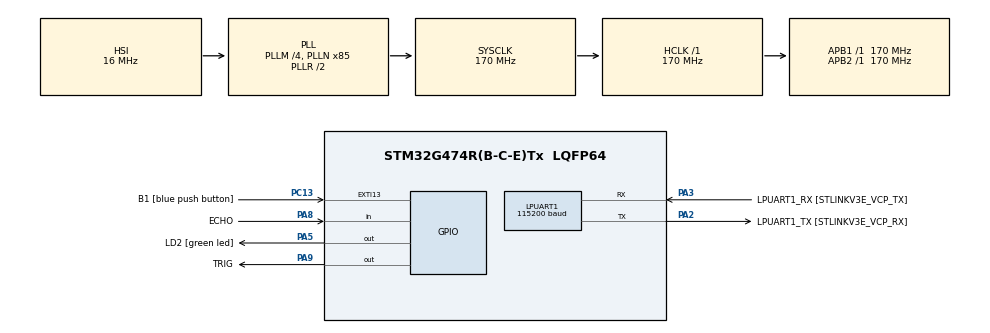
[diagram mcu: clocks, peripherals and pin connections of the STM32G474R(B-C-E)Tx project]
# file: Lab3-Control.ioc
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LPUART1.BaudRate=115200
Mcu.Family=STM32G4
Mcu.Name=STM32G474R(B-C-E)Tx
Mcu.Package=LQFP64
NVIC.EXTI15_10_IRQn=true\:0\:0\:false\:false\:true\:true\:true\:true
NVIC.PriorityGroup=NVIC_PRIORITYGROUP_4
NVIC.TIM1_CC_IRQn=true\:0\:0\:false\:false\:true\:true\:true\:true
PA13.GPIO_Label=T_SWDIO
PA13.Mode=Trace_Asynchronous_SW
PA13.Signal=SYS_JTMS-SWDIO
PA14.GPIO_Label=T_SWCLK
PA14.Mode=Trace_Asynchronous_SW
PA14.Signal=SYS_JTCK-SWCLK
PA2.GPIO_Label=LPUART1_TX [STLINKV3E_VCP_RX]
PA2.Mode=Asynchronous
PA2.Signal=LPUART1_TX
PA3.GPIO_Label=LPUART1_RX [STLINKV3E_VCP_TX]
PA3.Mode=Asynchronous
PA3.Signal=LPUART1_RX
PA5.GPIO_Label=LD2 [green led]
PA5.Signal=GPIO_Output
PA8.GPIO_Label=ECHO
PA8.Signal=GPIO_Input
PA9.GPIO_Label=TRIG
PA9.Signal=GPIO_Output
PB3.GPIO_Label=T_SWO
PB3.Mode=Trace_Asynchronous_SW
PB3.Signal=SYS_JTDO-SWO
PC13.GPIO_Label=B1 [blue push button]
PC13.Signal=GPXTI13
PC14-OSC32_IN.GPIO_Label=RCC_OSC32_IN
PC14-OSC32_IN.Signal=RCC_OSC32_IN
PC15-OSC32_OUT.GPIO_Label=RCC_OSC32_OUT
PC15-OSC32_OUT.Signal=RCC_OSC32_OUT
PF0-OSC_IN.GPIO_Label=RCC_OSC_IN
PF0-OSC_IN.Signal=RCC_OSC_IN
PF1-OSC_OUT.GPIO_Label=RCC_OSC_OUT
PF1-OSC_OUT.Signal=RCC_OSC_OUT
ProjectManager.HeapSize=0x200
ProjectManager.StackSize=0x400
ProjectManager.TargetToolchain=STM32CubeIDE
RCC.ADC12Freq_Value=170000000
RCC.ADC345Freq_Value=170000000
RCC.AHBFreq_Value=170000000
RCC.APB1Freq_Value=170000000
RCC.APB1TimFreq_Value=170000000
RCC.APB2Freq_Value=170000000
RCC.APB2TimFreq_Value=170000000
RCC.CortexFreq_Value=170000000
RCC.EXTERNAL_CLOCK_VALUE=12288000
RCC.HCLKFreq_Value=170000000
RCC.HSE_VALUE=24000000
RCC.HSI48_VALUE=48000000
RCC.HSI_VALUE=16000000
RCC.LSE_VALUE=32768
RCC.PLLM=RCC_PLLM_DIV4
RCC.PLLN=85
RCC.RTCClockSelection=RCC_RTCCLKSOURCE_LSE
RCC.SYSCLKFreq_VALUE=170000000
RCC.SYSCLKSource=RCC_SYSCLKSOURCE_PLLCLK
RCC.USBFreq_Value=170000000
RCC.VCOOutputFreq_Value=340000000
TIM1.Prescaler=169
VP_SYS_VS_DBSignals.Mode=DisableDeadBatterySignals
VP_TIM1_VS_ClockSourceINT.Mode=Internal
board=NUCLEO-G474RE

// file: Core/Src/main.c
/* USER CODE BEGIN Header */
/**
  ******************************************************************************
  * @file     main.c
  * @brief    HC-SR04 + 2-State Discrete Kalman Filter on NUCLEO-G474RE
  *
  * Libraries used:
  *   hcsr04.h / hcsr04.c   HC-SR04 ultrasonic distance sensor driver
  *   kalman.h  / kalman.c   2-state Kalman filter (distance + velocity)
  *
  * Hardware:
  *   D8 (PA9) -> TRIG
  *   D7 (PA8) -> ECHO
  *
  * What you get from this setup:
  *   raw_distance_cm   : noisy reading directly from sensor
  *   filtered_distance : smooth distance estimate from Kalman filter
  *   velocity_cms      : estimated speed of target (cm/s), derived for free
  *
  * How to tune:
  *   KALMAN_Q0  : Process noise on distance. Increase if filter is too slow.
  *   KALMAN_Q1  : Process noise on velocity. Increase if velocity is wrong.
  *   KALMAN_R   : Sensor noise. Compute: var(100 readings of still target).
  *   KALMAN_DT  : Must match the HAL_Delay at the bottom of the loop.
  ******************************************************************************
  */
/* USER CODE END Header */
#include "main.h"

/* USER CODE BEGIN Includes */
#include "hcsr04.h"
#include "kalman.h"
#include <stdio.h>
/* USER CODE END Includes */

/* USER CODE BEGIN PD */

/*
 * Sample period: must exactly match the HAL_Delay at the bottom of the loop.
 * Units: seconds.  60 ms loop -> dt = 0.06
 */
#define KALMAN_DT     0.06f

/*
 * Process noise variance for the distance state.
 * How much the true distance can unexpectedly jump between samples.
 * Start at 0.1. Increase if the filter tracks movement too slowly.
 */
#define KALMAN_Q0     0.1f

/*
 * Process noise variance for the velocity state.
 * How much the velocity can unexpectedly change between samples.
 * Start at 1.0. Increase if the velocity estimate seems wrong.
 */
#define KALMAN_Q1     1.0f

/*
 * Measurement noise variance.
 * How noisy the raw HC-SR04 readings are.
 * Measure this: point at a still wall, collect 100 readings, compute variance.
 * Example: if readings scatter +/- 3 cm, variance ~ 9.0
 */
#define KALMAN_R      9.0f

/* USER CODE END PD */

UART_HandleTypeDef hlpuart1;

TIM_HandleTypeDef htim1;

/* USER CODE BEGIN PV */

Kalman2State_t kf_distance;           /* One 2-state Kalman filter instance  */

uint16_t raw_distance_cm   = 0;       /* Raw reading from HCSR04_Read()      */
float    filtered_distance = 0.0f;    /* Filtered distance from Kalman filter */
float    velocity_cms      = 0.0f;    /* Velocity estimate from Kalman filter */

/* USER CODE END PV */

void SystemClock_Config(void);
static void MX_GPIO_Init(void);
static void MX_TIM1_Init(void);
static void MX_LPUART1_UART_Init(void);

int main(void)
{

  /* MCU Configuration--------------------------------------------------------*/

  /* Reset of all peripherals, Initializes the Flash interface and the Systick. */
  HAL_Init();

  /* Configure the system clock */
  SystemClock_Config();

  /* Initialize all configured peripherals */
  MX_GPIO_Init();
  MX_TIM1_Init();
  MX_LPUART1_UART_Init();
  /* USER CODE BEGIN 2 */

    /* Start TIM1 before initialising the HC-SR04 driver */
    HAL_TIM_Base_Start(&htim1);

    /* Initialise the HC-SR04 driver with the microsecond timer */
    HCSR04_Init(&htim1);

    /*
     * Take the first sensor reading to seed the Kalman filter.
     * This prevents the filter from starting at 0 cm and needing many
     * iterations to pull the estimate up to the real distance.
     */
    raw_distance_cm = HCSR04_Read();
    if (raw_distance_cm == HCSR04_TIMEOUT_VALUE)
    {
        raw_distance_cm = 0;   /* Sensor not ready, seed with 0 */
    }

    /*
     * Initialise the 2-state Kalman filter.
     * Initial velocity is 0 (assume the target is stationary at startup).
     */
    Kalman2_Init(&kf_distance,
                 KALMAN_DT,
                 KALMAN_Q0,
                 KALMAN_Q1,
                 KALMAN_R,
                 (float)raw_distance_cm,   /* initial distance estimate */
                 0.0f);                    /* initial velocity estimate */

  /* USER CODE END 2 */

  /* Infinite loop */
    while (1)
    {

    /* USER CODE BEGIN 3 */

        /* Step 1: Get a fresh raw reading from the sensor */
        raw_distance_cm = HCSR04_Read();

        /* Step 2: Only update the filter on valid readings */
        if (raw_distance_cm != HCSR04_TIMEOUT_VALUE)
        {
            /*
             * Step 3: Run the 2-state Kalman filter.
             *
             * Internally this runs:
             *   PREDICT: push state forward using A (position + velocity*dt)
             *   UPDATE:  correct using the new measurement z
             *
             * After this call:
             *   filtered_distance  = kf_distance.x0  (smooth distance in cm)
             *   velocity_cms       = kf_distance.x1  (estimated speed in cm/s)
             */
            filtered_distance = Kalman2_Update(&kf_distance,
                                               (float)raw_distance_cm);

            /* Step 4: Read the estimated velocity (comes for free from the filter) */
            velocity_cms = Kalman2_GetVelocity(&kf_distance);

            /* Step 5: Print results over UART */
            printf("RAW:%u  DIST:%.1f  VEL:%.1f\r\n",
                   raw_distance_cm,
                   filtered_distance,
                   velocity_cms);
        }

        /*
         * Wait exactly KALMAN_DT seconds before the next reading.
         * This must match the dt value passed to Kalman2_Init().
         * If you change this delay, update KALMAN_DT too.
         */
        HAL_Delay(60);   /* 60 ms = KALMAN_DT = 0.06 s */

    }
  /* USER CODE END 3 */
}

void SystemClock_Config(void)
{
  RCC_OscInitTypeDef RCC_OscInitStruct = {0};
  RCC_ClkInitTypeDef RCC_ClkInitStruct = {0};

  /** Configure the main internal regulator output voltage
  */
  HAL_PWREx_ControlVoltageScaling(PWR_REGULATOR_VOLTAGE_SCALE1_BOOST);

  /** Initializes the RCC Oscillators according to the specified parameters
  * in the RCC_OscInitTypeDef structure.
  */
  RCC_OscInitStruct.OscillatorType = RCC_OSCILLATORTYPE_HSI;
  RCC_OscInitStruct.HSIState = RCC_HSI_ON;
  RCC_OscInitStruct.HSICalibrationValue = RCC_HSICALIBRATION_DEFAULT;
  RCC_OscInitStruct.PLL.PLLState = RCC_PLL_ON;
  RCC_OscInitStruct.PLL.PLLSource = RCC_PLLSOURCE_HSI;
  RCC_OscInitStruct.PLL.PLLM = RCC_PLLM_DIV4;
  RCC_OscInitStruct.PLL.PLLN = 85;
  RCC_OscInitStruct.PLL.PLLP = RCC_PLLP_DIV2;
  RCC_OscInitStruct.PLL.PLLQ = RCC_PLLQ_DIV2;
  RCC_OscInitStruct.PLL.PLLR = RCC_PLLR_DIV2;
  if (HAL_RCC_OscConfig(&RCC_OscInitStruct) != HAL_OK)
  {
    Error_Handler();
  }

  /** Initializes the CPU, AHB and APB buses clocks
  */
  RCC_ClkInitStruct.ClockType = RCC_CLOCKTYPE_HCLK|RCC_CLOCKTYPE_SYSCLK
                              |RCC_CLOCKTYPE_PCLK1|RCC_CLOCKTYPE_PCLK2;
  RCC_ClkInitStruct.SYSCLKSource = RCC_SYSCLKSOURCE_PLLCLK;
  RCC_ClkInitStruct.AHBCLKDivider = RCC_SYSCLK_DIV1;
  RCC_ClkInitStruct.APB1CLKDivider = RCC_HCLK_DIV1;
  RCC_ClkInitStruct.APB2CLKDivider = RCC_HCLK_DIV1;

  if (HAL_RCC_ClockConfig(&RCC_ClkInitStruct, FLASH_LATENCY_4) != HAL_OK)
  {
    Error_Handler();
  }
}

static void MX_LPUART1_UART_Init(void)
{

  hlpuart1.Instance = LPUART1;
  hlpuart1.Init.BaudRate = 115200;
  hlpuart1.Init.WordLength = UART_WORDLENGTH_8B;
  hlpuart1.Init.StopBits = UART_STOPBITS_1;
  hlpuart1.Init.Parity = UART_PARITY_NONE;
  hlpuart1.Init.Mode = UART_MODE_TX_RX;
  hlpuart1.Init.HwFlowCtl = UART_HWCONTROL_NONE;
  hlpuart1.Init.OneBitSampling = UART_ONE_BIT_SAMPLE_DISABLE;
  hlpuart1.Init.ClockPrescaler = UART_PRESCALER_DIV1;
  hlpuart1.AdvancedInit.AdvFeatureInit = UART_ADVFEATURE_NO_INIT;
  if (HAL_UART_Init(&hlpuart1) != HAL_OK)
  {
    Error_Handler();
  }
  if (HAL_UARTEx_SetTxFifoThreshold(&hlpuart1, UART_TXFIFO_THRESHOLD_1_8) != HAL_OK)
  {
    Error_Handler();
  }
  if (HAL_UARTEx_SetRxFifoThreshold(&hlpuart1, UART_RXFIFO_THRESHOLD_1_8) != HAL_OK)
  {
    Error_Handler();
  }
  if (HAL_UARTEx_DisableFifoMode(&hlpuart1) != HAL_OK)
  {
    Error_Handler();
  }

}

static void MX_TIM1_Init(void)
{

  TIM_ClockConfigTypeDef sClockSourceConfig = {0};
  TIM_MasterConfigTypeDef sMasterConfig = {0};

  htim1.Instance = TIM1;
  htim1.Init.Prescaler = 169;
  htim1.Init.CounterMode = TIM_COUNTERMODE_UP;
  htim1.Init.Period = 65535;
  htim1.Init.ClockDivision = TIM_CLOCKDIVISION_DIV1;
  htim1.Init.RepetitionCounter = 0;
  htim1.Init.AutoReloadPreload = TIM_AUTORELOAD_PRELOAD_DISABLE;
  if (HAL_TIM_Base_Init(&htim1) != HAL_OK)
  {
    Error_Handler();
  }
  sClockSourceConfig.ClockSource = TIM_CLOCKSOURCE_INTERNAL;
  if (HAL_TIM_ConfigClockSource(&htim1, &sClockSourceConfig) != HAL_OK)
  {
    Error_Handler();
  }
  sMasterConfig.MasterOutputTrigger = TIM_TRGO_RESET;
  sMasterConfig.MasterOutputTrigger2 = TIM_TRGO2_RESET;
  sMasterConfig.MasterSlaveMode = TIM_MASTERSLAVEMODE_DISABLE;
  if (HAL_TIMEx_MasterConfigSynchronization(&htim1, &sMasterConfig) != HAL_OK)
  {
    Error_Handler();
  }

}

static void MX_GPIO_Init(void)
{
  GPIO_InitTypeDef GPIO_InitStruct = {0};

  /* GPIO Ports Clock Enable */
  __HAL_RCC_GPIOC_CLK_ENABLE();
  __HAL_RCC_GPIOF_CLK_ENABLE();
  __HAL_RCC_GPIOA_CLK_ENABLE();
  __HAL_RCC_GPIOB_CLK_ENABLE();

  /*Configure GPIO pin Output Level */
  HAL_GPIO_WritePin(GPIOA, LD2_Pin|TRIG_Pin, GPIO_PIN_RESET);

  /*Configure GPIO pin : B1_Pin */
  GPIO_InitStruct.Pin = B1_Pin;
  GPIO_InitStruct.Mode = GPIO_MODE_IT_RISING;
  GPIO_InitStruct.Pull = GPIO_NOPULL;
  HAL_GPIO_Init(B1_GPIO_Port, &GPIO_InitStruct);

  /*Configure GPIO pins : LD2_Pin TRIG_Pin */
  GPIO_InitStruct.Pin = LD2_Pin|TRIG_Pin;
  GPIO_InitStruct.Mode = GPIO_MODE_OUTPUT_PP;
  GPIO_InitStruct.Pull = GPIO_NOPULL;
  GPIO_InitStruct.Speed = GPIO_SPEED_FREQ_LOW;
  HAL_GPIO_Init(GPIOA, &GPIO_InitStruct);

  /*Configure GPIO pin : ECHO_Pin */
  GPIO_InitStruct.Pin = ECHO_Pin;
  GPIO_InitStruct.Mode = GPIO_MODE_INPUT;
  GPIO_InitStruct.Pull = GPIO_NOPULL;
  HAL_GPIO_Init(ECHO_GPIO_Port, &GPIO_InitStruct);

  /* EXTI interrupt init*/
  HAL_NVIC_SetPriority(EXTI15_10_IRQn, 0, 0);
  HAL_NVIC_EnableIRQ(EXTI15_10_IRQn);

}

/* USER CODE BEGIN 4 */
/*
 * Redirect printf to ITM (Instrumentation Trace Macrocell).
 * ITM port 0 is read by the SWV console in STM32CubeIDE.
 * No UART or extra wiring needed — uses the SWO pin on ST-LINK.
 */
int __io_putchar(int ch)
{
    HAL_UART_Transmit(&hlpuart1, (uint8_t *)&ch, 1, HAL_MAX_DELAY);
    return ch;
}
/* USER CODE END 4 */

void Error_Handler(void)
{
    __disable_irq();
    while (1) {}
}
